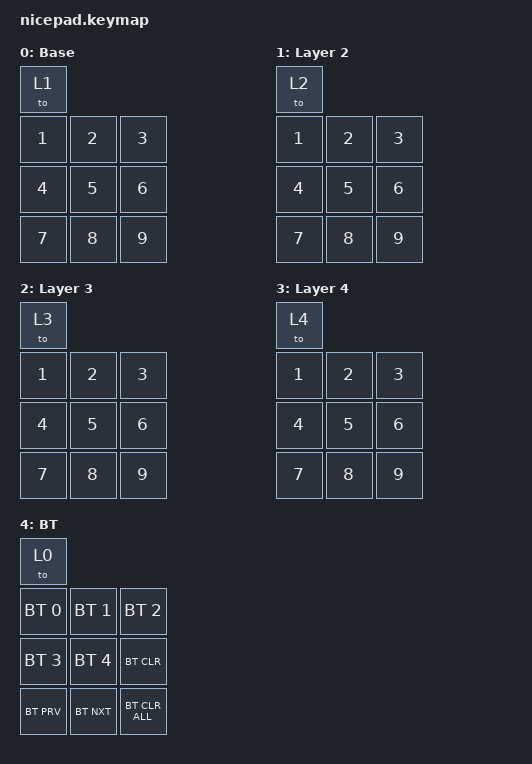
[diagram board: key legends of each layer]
#include <behaviors.dtsi>
#include <dt-bindings/zmk/bt.h>
#include <dt-bindings/zmk/keys.h>

/ {
    keymap {
        compatible = "zmk,keymap";

        default_layer {
            display-name = "Base";
            bindings = <
                &to 1
                &kp N1  &kp N2  &kp N3
                &kp N4  &kp N5  &kp N6
                &kp N7  &kp N8  &kp N9
            >;
        };

        layer_2 {
            display-name = "Layer 2";
            bindings = <
                &to 2
                &kp N1  &kp N2  &kp N3
                &kp N4  &kp N5  &kp N6
                &kp N7  &kp N8  &kp N9
            >;
        };

        layer_3 {
            display-name = "Layer 3";
            bindings = <
                &to 3
                &kp N1  &kp N2  &kp N3
                &kp N4  &kp N5  &kp N6
                &kp N7  &kp N8  &kp N9
            >;
        };

        layer_4 {
            display-name = "Layer 4";
            bindings = <
                &to 4
                &kp N1  &kp N2  &kp N3
                &kp N4  &kp N5  &kp N6
                &kp N7  &kp N8  &kp N9
            >;
        };

        bt_settings {
            display-name = "BT";
            bindings = <
                &to 0
                &bt BT_SEL 0  &bt BT_SEL 1  &bt BT_SEL 2
                &bt BT_SEL 3  &bt BT_SEL 4  &bt BT_CLR
                &bt BT_PRV    &bt BT_NXT    &bt BT_CLR_ALL
            >;
        };
    };
};
